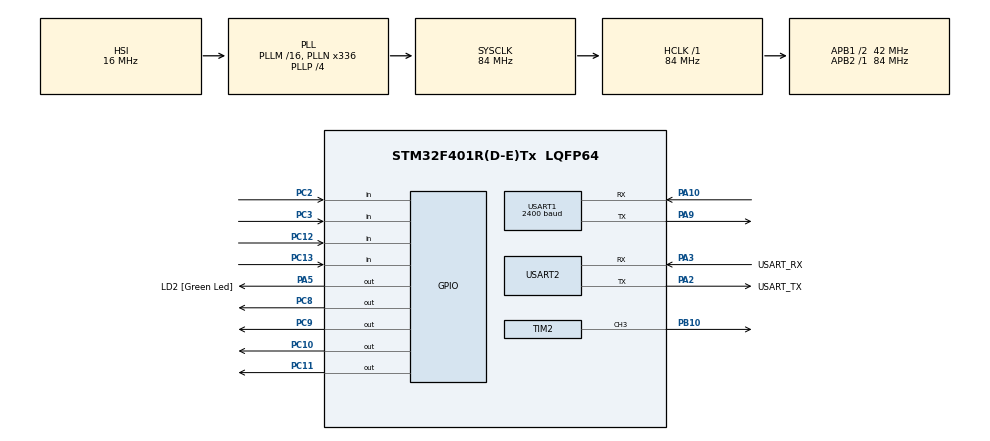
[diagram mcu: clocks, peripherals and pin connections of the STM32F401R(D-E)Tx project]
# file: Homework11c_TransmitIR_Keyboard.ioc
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Dma.Request0=USART1_RX
Dma.Request1=USART2_TX
Dma.USART1_RX.0.Direction=DMA_PERIPH_TO_MEMORY
Dma.USART1_RX.0.FIFOMode=DMA_FIFOMODE_DISABLE
Dma.USART1_RX.0.Instance=DMA2_Stream2
Dma.USART1_RX.0.MemDataAlignment=DMA_MDATAALIGN_BYTE
Dma.USART1_RX.0.MemInc=DMA_MINC_ENABLE
Dma.USART1_RX.0.Mode=DMA_NORMAL
Dma.USART1_RX.0.PeriphDataAlignment=DMA_PDATAALIGN_BYTE
Dma.USART1_RX.0.PeriphInc=DMA_PINC_DISABLE
Dma.USART1_RX.0.Priority=DMA_PRIORITY_LOW
Dma.USART2_TX.1.Direction=DMA_MEMORY_TO_PERIPH
Dma.USART2_TX.1.FIFOMode=DMA_FIFOMODE_DISABLE
Dma.USART2_TX.1.Instance=DMA1_Stream6
Dma.USART2_TX.1.MemDataAlignment=DMA_MDATAALIGN_BYTE
Dma.USART2_TX.1.MemInc=DMA_MINC_ENABLE
Dma.USART2_TX.1.Mode=DMA_NORMAL
Dma.USART2_TX.1.PeriphDataAlignment=DMA_PDATAALIGN_BYTE
Dma.USART2_TX.1.PeriphInc=DMA_PINC_DISABLE
Dma.USART2_TX.1.Priority=DMA_PRIORITY_LOW
Mcu.Family=STM32F4
Mcu.Name=STM32F401R(D-E)Tx
Mcu.Package=LQFP64
NVIC.DMA1_Stream6_IRQn=true\:0\:0\:false\:false\:true\:false\:true\:true
NVIC.DMA2_Stream2_IRQn=true\:0\:0\:false\:false\:true\:false\:true\:true
NVIC.PriorityGroup=NVIC_PRIORITYGROUP_1
NVIC.TIM3_IRQn=true\:0\:0\:false\:false\:true\:true\:true\:true
NVIC.TIM4_IRQn=true\:1\:0\:true\:false\:true\:true\:true\:true
NVIC.USART1_IRQn=true\:0\:0\:false\:false\:true\:true\:true\:true
NVIC.USART2_IRQn=true\:0\:0\:false\:false\:true\:true\:true\:true
PA10.Mode=Asynchronous
PA10.Signal=USART1_RX
PA13.GPIO_Label=TMS
PA13.Mode=Serial_Wire
PA13.Signal=SYS_JTMS-SWDIO
PA14.GPIO_Label=TCK
PA14.Mode=Serial_Wire
PA14.Signal=SYS_JTCK-SWCLK
PA2.GPIO_Label=USART_TX
PA2.GPIO_Mode=GPIO_MODE_AF_PP
PA2.GPIO_PuPd=GPIO_NOPULL
PA2.GPIO_Speed=GPIO_SPEED_FREQ_LOW
PA2.Mode=Asynchronous
PA2.Signal=USART2_TX
PA3.GPIO_Label=USART_RX
PA3.GPIO_Mode=GPIO_MODE_AF_PP
PA3.GPIO_PuPd=GPIO_NOPULL
PA3.GPIO_Speed=GPIO_SPEED_FREQ_LOW
PA3.Mode=Asynchronous
PA3.Signal=USART2_RX
PA5.GPIO_Label=LD2 [Green Led]
PA5.GPIO_Mode=GPIO_MODE_OUTPUT_PP
PA5.GPIO_PuPd=GPIO_NOPULL
PA5.GPIO_Speed=GPIO_SPEED_FREQ_LOW
PA5.Signal=GPIO_Output
PA9.Mode=Asynchronous
PA9.Signal=USART1_TX
PB10.Signal=S_TIM2_CH3
PB3.GPIO_Label=SWO
PB3.Signal=SYS_JTDO-SWO
PC10.Signal=GPIO_Output
PC11.Signal=GPIO_Output
PC12.Signal=GPIO_Input
PC13-ANTI_TAMP.Signal=GPIO_Input
PC14-OSC32_IN.Mode=LSE-External-Oscillator
PC14-OSC32_IN.Signal=RCC_OSC32_IN
PC15-OSC32_OUT.Mode=LSE-External-Oscillator
PC15-OSC32_OUT.Signal=RCC_OSC32_OUT
PC2.Signal=GPIO_Input
PC3.Signal=GPIO_Input
PC8.Signal=GPIO_Output
PC9.Signal=GPIO_Output
PH0\ -\ OSC_IN.Mode=HSE-External-Clock-Source
PH0\ -\ OSC_IN.Signal=RCC_OSC_IN
PH1\ -\ OSC_OUT.Mode=HSE-External-Clock-Source
PH1\ -\ OSC_OUT.Signal=RCC_OSC_OUT
ProjectManager.HeapSize=0x200
ProjectManager.StackSize=0x400
ProjectManager.TargetToolchain=STM32CubeIDE
RCC.48MHZClocksFreq_Value=48000000
RCC.AHBFreq_Value=84000000
RCC.APB1CLKDivider=RCC_HCLK_DIV2
RCC.APB1Freq_Value=42000000
RCC.APB1TimFreq_Value=84000000
RCC.APB2Freq_Value=84000000
RCC.APB2TimFreq_Value=84000000
RCC.CortexFreq_Value=84000000
RCC.HCLKFreq_Value=84000000
RCC.HSE_VALUE=8000000
RCC.HSI_VALUE=16000000
RCC.PLLN=336
RCC.PLLP=RCC_PLLP_DIV4
RCC.PLLQ=7
RCC.SYSCLKFreq_VALUE=84000000
RCC.SYSCLKSource=RCC_SYSCLKSOURCE_PLLCLK
RCC.VCOOutputFreq_Value=336000000
SH.S_TIM2_CH3.0=TIM2_CH3,PWM Generation3 CH3
TIM2.Channel-PWM\ Generation3\ CH3=TIM_CHANNEL_3
TIM2.Period=2210-1
TIM2.Pulse-PWM\ Generation3\ CH3=1105-1
TIM3.Period=35000-1
TIM4.Period=50-1
TIM4.Prescaler=8400-1
USART1.BaudRate=2400
USART1.VirtualMode=VM_ASYNC
USART2.VirtualMode=VM_ASYNC
VP_TIM3_VS_ClockSourceINT.Mode=Internal
VP_TIM4_VS_ClockSourceINT.Mode=Internal
board=NUCLEO-F401RE

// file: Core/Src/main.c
/* USER CODE BEGIN Header */
/**
  ******************************************************************************
  * @file           : main.c
  * @brief          : Main program body
  ******************************************************************************
  * @attention
  *
  * Copyright (c) 2024 STMicroelectronics.
  * All rights reserved.
  *
  * This software is licensed under terms that can be found in the LICENSE file
  * in the root directory of this software component.
  * If no LICENSE file comes with this software, it is provided AS-IS.
  *
  ******************************************************************************
  */
/* USER CODE END Header */
#include "main.h"

/* USER CODE BEGIN Includes */
#include "stdio.h"
#include "string.h"
/* USER CODE END Includes */

/* USER CODE BEGIN PD */
#define ROW_0 GPIOC,GPIO_PIN_3
#define ROW_1 GPIOC,GPIO_PIN_2
#define ROW_2 GPIOC,GPIO_PIN_13
#define ROW_3 GPIOC,GPIO_PIN_12

#define COL_0 GPIOC,GPIO_PIN_11
#define COL_1 GPIOC,GPIO_PIN_10
#define COL_2 GPIOC,GPIO_PIN_9
#define COL_3 GPIOC,GPIO_PIN_8

#define NUM_OF_SAMPLES 2
#define ROW_LENGTH 4
#define COLUMN_LENGTH 4

#define NUM_OF_BITS 8
/* USER CODE END PD */

TIM_HandleTypeDef htim2;
TIM_HandleTypeDef htim3;
TIM_HandleTypeDef htim4;

UART_HandleTypeDef huart1;
UART_HandleTypeDef huart2;
DMA_HandleTypeDef hdma_usart1_rx;
DMA_HandleTypeDef hdma_usart2_tx;

/* USER CODE BEGIN PV */
char c_tx;
char c_rx;

/*This index is used for the UART protocol*/
uint8_t bit_index = 0;

uint8_t sample_index = 0;	//index of the samples collected in order to debounce
uint8_t col_index = 0;		//index of the number of the column
uint8_t row_index = 0;		//index of the number of the row

uint8_t btn = 0;	//button state (used also for debouncing) - if btn = 0 -> button is pressed

uint8_t i = 0;
uint8_t j = 0;
uint8_t k = 0;

uint8_t rx_data[NUM_OF_SAMPLES][COLUMN_LENGTH][ROW_LENGTH];		//buttons state - 3rd dimension stores the different samples to debounce

char out_matrix[COLUMN_LENGTH][ROW_LENGTH] = {
		{'F', 'E', 'D', 'C'},
		{'B', 'A', '9', '8'},
		{'7', '6', '5', '4'},
		{'3', '2', '1', '0'}
};

uint8_t old_btn[COLUMN_LENGTH][ROW_LENGTH] = {	//previous state of the buttons
		{1, 1, 1, 1},
		{1, 1, 1, 1},
		{1, 1, 1, 1},
		{1, 1, 1, 1},
};

/* USER CODE END PV */

void SystemClock_Config(void);
static void MX_GPIO_Init(void);
static void MX_DMA_Init(void);
static void MX_USART2_UART_Init(void);
static void MX_TIM2_Init(void);
static void MX_TIM3_Init(void);
static void MX_TIM4_Init(void);
static void MX_USART1_UART_Init(void);

/* USER CODE BEGIN 0 */

//start new Byte transmission using UART protocol
/*Maybe this function could be implemented with a parameter instead of a global variable...*/
void IR_UART_Transmit(){
	bit_index=0;

	//clear interrupt request BEFORE enabling tim interrupt
	__HAL_TIM_CLEAR_IT(&htim3, TIM_IT_UPDATE);

	/*TIM3 have been set as prescaler = 0 and ARR = 35000-1,in order to set a baudrate of
	 * 2400 bps, which means having a 1/2400s as a timer*/
	HAL_TIM_Base_Start_IT(&htim3);

	/*This is the Start bit: communication starts when Start bit = 0, and it is 0 when PWM on*/
	HAL_TIM_PWM_Start(&htim2, TIM_CHANNEL_3);

}

//received char through IR (UART)
void HAL_UART_RxCpltCallback (UART_HandleTypeDef *huart){
	if(huart == &huart1){

		/*Transmission of the char via UART*/
		HAL_UART_Transmit_DMA(&huart2, &c_rx, sizeof(c_rx));
	}
	/*Waiting for the next char via USART1 (IR receiver).
	 * -Parameters: (which port, where to save, size of the data)
	 * -NOTES: UART protocol waits for start bit, so until transmission does
	 * not start, the receiver waits */
	HAL_UART_Receive_DMA(&huart1, &c_rx, sizeof(c_rx));
}

void HAL_TIM_PeriodElapsedCallback(TIM_HandleTypeDef *htim){

	/*Every 1/2400s I send new bit*/
	if (htim == &htim3){

		/*Here I implement the transmission of the bits*/

		/*At the last bit I send the Stop bit, which is equal to 1. */
		if(bit_index == NUM_OF_BITS){
			/*The packet is over so I stop TIM3*/
			HAL_TIM_Base_Stop_IT(&htim3);

			/*Stop bit*/
			HAL_TIM_PWM_Stop(&htim2, TIM_CHANNEL_3);

		}else{
			/*Here I check what to send (0 or 1):
			 * c_tx is composed by 8 bit: the first bit is the LSB and the last one is the MSB
			 * I compare the char with a byte which is composed as "00000100" where the 1 is the one moving
			 * depending on the bit_index. What I get is a bit-wise AND whose result is 0b0 or 0b100
			 * depending on the value of c_tx third bit. After that the if operator gives 0 if the argument is 0,
			 * while gives 1 if the argument is != from zero*/
			if(c_tx & (1<<bit_index)){
				/*If the char bit at bit_index = 1*/
				HAL_TIM_PWM_Stop(&htim2, TIM_CHANNEL_3);

			}else{

				HAL_TIM_PWM_Start(&htim2, TIM_CHANNEL_3);

			}
			bit_index++;
		}
	}

	if(htim == &htim4){

		/*LOOK HOMEWORK-10: this method have some minor differences:
		 * - Transmission is done every row reading (as soon as it is read)
		 * - No print[][] matrix
		 *
		 * PRO:
		 * - less memory
		 * CONS:
		 * - More overhead in the transmission
		 * 	 (in particular for non-custom transmission functions)*/
		row_index = 0;

		//ROW_0

		//save the btn state
		rx_data[sample_index][row_index][col_index] = HAL_GPIO_ReadPin(ROW_0);	//debouncing: check if the btn is stably zero (check if many samples are = to 0)
		for (i = 0, btn = 0; i < NUM_OF_SAMPLES; i++)
			btn = btn || rx_data[i][row_index][col_index];

		//check if button already pressed: print only if previously not pressed, now pressed
		if (!btn && old_btn[row_index][col_index]){
			c_tx = out_matrix[row_index][col_index];

			/*Instead of the UART transmission of homework-10 I use our custom function*/
			IR_UART_Transmit();
		}

		old_btn[row_index][col_index] = btn; //save the state for the next check

		//ROW_1
		row_index++;
		rx_data[sample_index][row_index][col_index] = HAL_GPIO_ReadPin(ROW_1);
		for (i = 0, btn = 0; i < NUM_OF_SAMPLES; i++)
			btn = btn || rx_data[i][row_index][col_index];

		if (!btn && old_btn[row_index][col_index]){
			c_tx = out_matrix[row_index][col_index];
			IR_UART_Transmit();
		}

		old_btn[row_index][col_index] = btn;

		//ROW_2
		row_index++;

		rx_data[sample_index][row_index][col_index] = HAL_GPIO_ReadPin(ROW_2);
		for (i = 0, btn = 0; i < NUM_OF_SAMPLES; i++)
			btn = btn || rx_data[i][row_index][col_index];

		if (!btn && old_btn[row_index][col_index]){
			c_tx = out_matrix[row_index][col_index];
			IR_UART_Transmit();
		}

		old_btn[row_index][col_index] = btn;

		//ROW_3
		row_index++;
		rx_data[sample_index][row_index][col_index] = HAL_GPIO_ReadPin(ROW_3);
			for (i = 0, btn = 0; i < NUM_OF_SAMPLES; i++)
				btn = btn || rx_data[i][row_index][col_index];

		if (!btn && old_btn[row_index][col_index]){
			c_tx = out_matrix[row_index][col_index];
			IR_UART_Transmit();
		}

		old_btn[row_index][col_index] = btn;

		col_index++;
		if (col_index == ROW_LENGTH) {
			col_index = 0;
			sample_index++;	//need to acquire new sample
			if (sample_index == NUM_OF_SAMPLES)
				sample_index = 0;
		}

		//columns drive manager
		HAL_GPIO_WritePin(COL_0, (col_index == 0) ? GPIO_PIN_SET : GPIO_PIN_RESET);
		HAL_GPIO_WritePin(COL_1, (col_index == 1) ? GPIO_PIN_SET : GPIO_PIN_RESET);
		HAL_GPIO_WritePin(COL_2, (col_index == 2) ? GPIO_PIN_SET : GPIO_PIN_RESET);
		HAL_GPIO_WritePin(COL_3, (col_index == 3) ? GPIO_PIN_SET : GPIO_PIN_RESET);
	}

}
/* USER CODE END 0 */

int main(void)
{

  /* MCU Configuration--------------------------------------------------------*/

  /* Reset of all peripherals, Initializes the Flash interface and the Systick. */
  HAL_Init();

  /* Configure the system clock */
  SystemClock_Config();

  /* Initialize all configured peripherals */
  MX_GPIO_Init();
  MX_DMA_Init();
  MX_USART2_UART_Init();
  MX_TIM2_Init();
  MX_TIM3_Init();
  MX_TIM4_Init();
  MX_USART1_UART_Init();
  /* USER CODE BEGIN 2 */
  for (i = 0; i < NUM_OF_SAMPLES; i++) {
       for (j = 0; j < COLUMN_LENGTH; j++) {
           for (k = 0; k < ROW_LENGTH; k++) {
               rx_data[i][j][k] = 1;
           }
       }
   }

  /*Very first receiving*/
  HAL_UART_Receive_DMA(&huart1, &c_rx, sizeof(c_rx));

  HAL_GPIO_WritePin(COL_0, GPIO_PIN_SET); //drive the first column

  __HAL_TIM_CLEAR_IT(&htim4, TIM_IT_UPDATE);	//clear interrupt request BEFORE enabling tim interrupt
  HAL_TIM_Base_Start_IT(&htim4); 				//start TIM2 in interrupt mode

  /* USER CODE END 2 */

  /* Infinite loop */
  while (1)
  {

  }
}

void SystemClock_Config(void)
{
  RCC_OscInitTypeDef RCC_OscInitStruct = {0};
  RCC_ClkInitTypeDef RCC_ClkInitStruct = {0};

  /** Configure the main internal regulator output voltage
  */
  __HAL_RCC_PWR_CLK_ENABLE();
  __HAL_PWR_VOLTAGESCALING_CONFIG(PWR_REGULATOR_VOLTAGE_SCALE2);

  /** Initializes the RCC Oscillators according to the specified parameters
  * in the RCC_OscInitTypeDef structure.
  */
  RCC_OscInitStruct.OscillatorType = RCC_OSCILLATORTYPE_HSI;
  RCC_OscInitStruct.HSIState = RCC_HSI_ON;
  RCC_OscInitStruct.HSICalibrationValue = RCC_HSICALIBRATION_DEFAULT;
  RCC_OscInitStruct.PLL.PLLState = RCC_PLL_ON;
  RCC_OscInitStruct.PLL.PLLSource = RCC_PLLSOURCE_HSI;
  RCC_OscInitStruct.PLL.PLLM = 16;
  RCC_OscInitStruct.PLL.PLLN = 336;
  RCC_OscInitStruct.PLL.PLLP = RCC_PLLP_DIV4;
  RCC_OscInitStruct.PLL.PLLQ = 7;
  if (HAL_RCC_OscConfig(&RCC_OscInitStruct) != HAL_OK)
  {
    Error_Handler();
  }

  /** Initializes the CPU, AHB and APB buses clocks
  */
  RCC_ClkInitStruct.ClockType = RCC_CLOCKTYPE_HCLK|RCC_CLOCKTYPE_SYSCLK
                              |RCC_CLOCKTYPE_PCLK1|RCC_CLOCKTYPE_PCLK2;
  RCC_ClkInitStruct.SYSCLKSource = RCC_SYSCLKSOURCE_PLLCLK;
  RCC_ClkInitStruct.AHBCLKDivider = RCC_SYSCLK_DIV1;
  RCC_ClkInitStruct.APB1CLKDivider = RCC_HCLK_DIV2;
  RCC_ClkInitStruct.APB2CLKDivider = RCC_HCLK_DIV1;

  if (HAL_RCC_ClockConfig(&RCC_ClkInitStruct, FLASH_LATENCY_2) != HAL_OK)
  {
    Error_Handler();
  }
}

static void MX_TIM2_Init(void)
{

  TIM_MasterConfigTypeDef sMasterConfig = {0};
  TIM_OC_InitTypeDef sConfigOC = {0};

  htim2.Instance = TIM2;
  htim2.Init.Prescaler = 0;
  htim2.Init.CounterMode = TIM_COUNTERMODE_UP;
  htim2.Init.Period = 2210-1;
  htim2.Init.ClockDivision = TIM_CLOCKDIVISION_DIV1;
  htim2.Init.AutoReloadPreload = TIM_AUTORELOAD_PRELOAD_DISABLE;
  if (HAL_TIM_PWM_Init(&htim2) != HAL_OK)
  {
    Error_Handler();
  }
  sMasterConfig.MasterOutputTrigger = TIM_TRGO_RESET;
  sMasterConfig.MasterSlaveMode = TIM_MASTERSLAVEMODE_DISABLE;
  if (HAL_TIMEx_MasterConfigSynchronization(&htim2, &sMasterConfig) != HAL_OK)
  {
    Error_Handler();
  }
  sConfigOC.OCMode = TIM_OCMODE_PWM1;
  sConfigOC.Pulse = 1105-1;
  sConfigOC.OCPolarity = TIM_OCPOLARITY_HIGH;
  sConfigOC.OCFastMode = TIM_OCFAST_DISABLE;
  if (HAL_TIM_PWM_ConfigChannel(&htim2, &sConfigOC, TIM_CHANNEL_3) != HAL_OK)
  {
    Error_Handler();
  }
  HAL_TIM_MspPostInit(&htim2);

}

static void MX_TIM3_Init(void)
{

  TIM_ClockConfigTypeDef sClockSourceConfig = {0};
  TIM_MasterConfigTypeDef sMasterConfig = {0};

  htim3.Instance = TIM3;
  htim3.Init.Prescaler = 0;
  htim3.Init.CounterMode = TIM_COUNTERMODE_UP;
  htim3.Init.Period = 35000-1;
  htim3.Init.ClockDivision = TIM_CLOCKDIVISION_DIV1;
  htim3.Init.AutoReloadPreload = TIM_AUTORELOAD_PRELOAD_DISABLE;
  if (HAL_TIM_Base_Init(&htim3) != HAL_OK)
  {
    Error_Handler();
  }
  sClockSourceConfig.ClockSource = TIM_CLOCKSOURCE_INTERNAL;
  if (HAL_TIM_ConfigClockSource(&htim3, &sClockSourceConfig) != HAL_OK)
  {
    Error_Handler();
  }
  sMasterConfig.MasterOutputTrigger = TIM_TRGO_RESET;
  sMasterConfig.MasterSlaveMode = TIM_MASTERSLAVEMODE_DISABLE;
  if (HAL_TIMEx_MasterConfigSynchronization(&htim3, &sMasterConfig) != HAL_OK)
  {
    Error_Handler();
  }

}

static void MX_TIM4_Init(void)
{

  TIM_ClockConfigTypeDef sClockSourceConfig = {0};
  TIM_MasterConfigTypeDef sMasterConfig = {0};

  htim4.Instance = TIM4;
  htim4.Init.Prescaler = 8400-1;
  htim4.Init.CounterMode = TIM_COUNTERMODE_UP;
  htim4.Init.Period = 50-1;
  htim4.Init.ClockDivision = TIM_CLOCKDIVISION_DIV1;
  htim4.Init.AutoReloadPreload = TIM_AUTORELOAD_PRELOAD_DISABLE;
  if (HAL_TIM_Base_Init(&htim4) != HAL_OK)
  {
    Error_Handler();
  }
  sClockSourceConfig.ClockSource = TIM_CLOCKSOURCE_INTERNAL;
  if (HAL_TIM_ConfigClockSource(&htim4, &sClockSourceConfig) != HAL_OK)
  {
    Error_Handler();
  }
  sMasterConfig.MasterOutputTrigger = TIM_TRGO_RESET;
  sMasterConfig.MasterSlaveMode = TIM_MASTERSLAVEMODE_DISABLE;
  if (HAL_TIMEx_MasterConfigSynchronization(&htim4, &sMasterConfig) != HAL_OK)
  {
    Error_Handler();
  }

}

static void MX_USART1_UART_Init(void)
{

  huart1.Instance = USART1;
  huart1.Init.BaudRate = 2400;
  huart1.Init.WordLength = UART_WORDLENGTH_8B;
  huart1.Init.StopBits = UART_STOPBITS_1;
  huart1.Init.Parity = UART_PARITY_NONE;
  huart1.Init.Mode = UART_MODE_TX_RX;
  huart1.Init.HwFlowCtl = UART_HWCONTROL_NONE;
  huart1.Init.OverSampling = UART_OVERSAMPLING_16;
  if (HAL_UART_Init(&huart1) != HAL_OK)
  {
    Error_Handler();
  }

}

static void MX_USART2_UART_Init(void)
{

  huart2.Instance = USART2;
  huart2.Init.BaudRate = 115200;
  huart2.Init.WordLength = UART_WORDLENGTH_8B;
  huart2.Init.StopBits = UART_STOPBITS_1;
  huart2.Init.Parity = UART_PARITY_NONE;
  huart2.Init.Mode = UART_MODE_TX_RX;
  huart2.Init.HwFlowCtl = UART_HWCONTROL_NONE;
  huart2.Init.OverSampling = UART_OVERSAMPLING_16;
  if (HAL_UART_Init(&huart2) != HAL_OK)
  {
    Error_Handler();
  }

}

static void MX_DMA_Init(void)
{

  /* DMA controller clock enable */
  __HAL_RCC_DMA2_CLK_ENABLE();
  __HAL_RCC_DMA1_CLK_ENABLE();

  /* DMA interrupt init */
  /* DMA1_Stream6_IRQn interrupt configuration */
  HAL_NVIC_SetPriority(DMA1_Stream6_IRQn, 0, 0);
  HAL_NVIC_EnableIRQ(DMA1_Stream6_IRQn);
  /* DMA2_Stream2_IRQn interrupt configuration */
  HAL_NVIC_SetPriority(DMA2_Stream2_IRQn, 0, 0);
  HAL_NVIC_EnableIRQ(DMA2_Stream2_IRQn);

}

static void MX_GPIO_Init(void)
{
  GPIO_InitTypeDef GPIO_InitStruct = {0};

  /* GPIO Ports Clock Enable */
  __HAL_RCC_GPIOC_CLK_ENABLE();
  __HAL_RCC_GPIOH_CLK_ENABLE();
  __HAL_RCC_GPIOA_CLK_ENABLE();
  __HAL_RCC_GPIOB_CLK_ENABLE();

  /*Configure GPIO pin Output Level */
  HAL_GPIO_WritePin(LD2_GPIO_Port, LD2_Pin, GPIO_PIN_RESET);

  /*Configure GPIO pin Output Level */
  HAL_GPIO_WritePin(GPIOC, GPIO_PIN_8|GPIO_PIN_9|GPIO_PIN_10|GPIO_PIN_11, GPIO_PIN_RESET);

  /*Configure GPIO pins : PC13 PC2 PC3 PC12 */
  GPIO_InitStruct.Pin = GPIO_PIN_13|GPIO_PIN_2|GPIO_PIN_3|GPIO_PIN_12;
  GPIO_InitStruct.Mode = GPIO_MODE_INPUT;
  GPIO_InitStruct.Pull = GPIO_NOPULL;
  HAL_GPIO_Init(GPIOC, &GPIO_InitStruct);

  /*Configure GPIO pin : LD2_Pin */
  GPIO_InitStruct.Pin = LD2_Pin;
  GPIO_InitStruct.Mode = GPIO_MODE_OUTPUT_PP;
  GPIO_InitStruct.Pull = GPIO_NOPULL;
  GPIO_InitStruct.Speed = GPIO_SPEED_FREQ_LOW;
  HAL_GPIO_Init(LD2_GPIO_Port, &GPIO_InitStruct);

  /*Configure GPIO pins : PC8 PC9 PC10 PC11 */
  GPIO_InitStruct.Pin = GPIO_PIN_8|GPIO_PIN_9|GPIO_PIN_10|GPIO_PIN_11;
  GPIO_InitStruct.Mode = GPIO_MODE_OUTPUT_PP;
  GPIO_InitStruct.Pull = GPIO_NOPULL;
  GPIO_InitStruct.Speed = GPIO_SPEED_FREQ_LOW;
  HAL_GPIO_Init(GPIOC, &GPIO_InitStruct);

}

void Error_Handler(void)
{
  __disable_irq();
  while (1)
  {
  }
}
